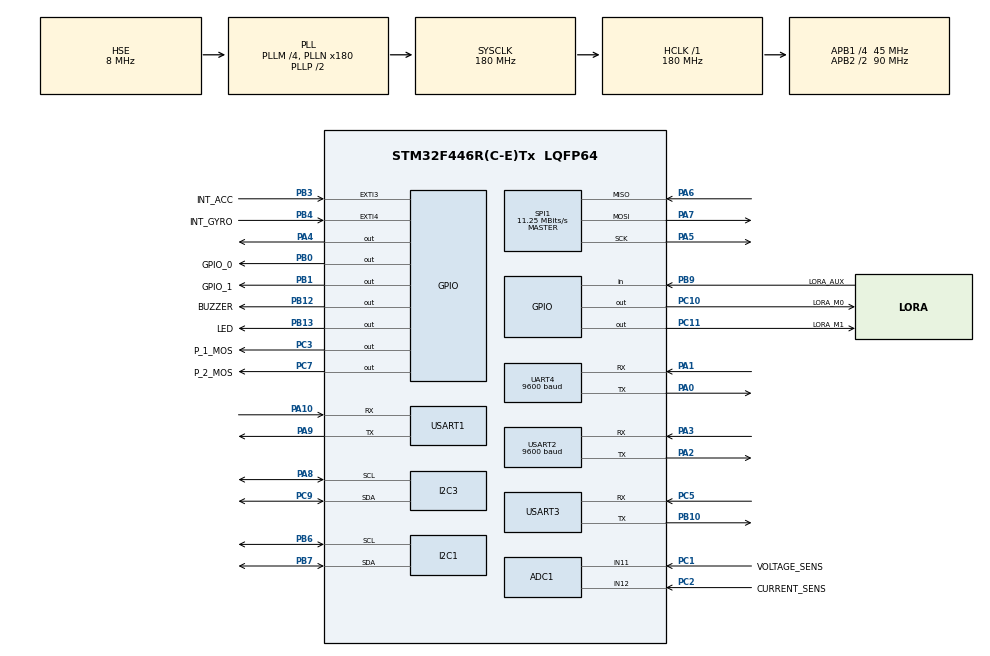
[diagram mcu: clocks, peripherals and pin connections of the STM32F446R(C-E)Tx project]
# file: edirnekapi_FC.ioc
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ADC1.Channel-0\#ChannelRegularConversion=ADC_CHANNEL_12
ADC1.Channel-1\#ChannelRegularConversion=ADC_CHANNEL_11
ADC1.ContinuousConvMode=ENABLE
ADC1.NbrOfConversion=2
ADC1.NbrOfConversionFlag=1
ADC1.Rank-0\#ChannelRegularConversion=1
ADC1.Rank-1\#ChannelRegularConversion=2
ADC1.SamplingTime-0\#ChannelRegularConversion=ADC_SAMPLETIME_84CYCLES
ADC1.SamplingTime-1\#ChannelRegularConversion=ADC_SAMPLETIME_84CYCLES
ADC1.ScanConvMode=ENABLE
ADC1.master=1
Dma.Request0=USART2_RX
Dma.Request1=USART1_TX
Dma.Request2=UART4_TX
Dma.Request3=UART4_RX
Dma.UART4_RX.3.Direction=DMA_PERIPH_TO_MEMORY
Dma.UART4_RX.3.FIFOMode=DMA_FIFOMODE_DISABLE
Dma.UART4_RX.3.Instance=DMA1_Stream2
Dma.UART4_RX.3.MemDataAlignment=DMA_MDATAALIGN_BYTE
Dma.UART4_RX.3.MemInc=DMA_MINC_ENABLE
Dma.UART4_RX.3.Mode=DMA_CIRCULAR
Dma.UART4_RX.3.PeriphDataAlignment=DMA_PDATAALIGN_BYTE
Dma.UART4_RX.3.PeriphInc=DMA_PINC_DISABLE
Dma.UART4_RX.3.Priority=DMA_PRIORITY_LOW
Dma.UART4_TX.2.Direction=DMA_MEMORY_TO_PERIPH
Dma.UART4_TX.2.FIFOMode=DMA_FIFOMODE_DISABLE
Dma.UART4_TX.2.Instance=DMA1_Stream4
Dma.UART4_TX.2.MemDataAlignment=DMA_MDATAALIGN_BYTE
Dma.UART4_TX.2.MemInc=DMA_MINC_ENABLE
Dma.UART4_TX.2.Mode=DMA_NORMAL
Dma.UART4_TX.2.PeriphDataAlignment=DMA_PDATAALIGN_BYTE
Dma.UART4_TX.2.PeriphInc=DMA_PINC_DISABLE
Dma.UART4_TX.2.Priority=DMA_PRIORITY_LOW
Dma.USART1_TX.1.Direction=DMA_MEMORY_TO_PERIPH
Dma.USART1_TX.1.FIFOMode=DMA_FIFOMODE_DISABLE
Dma.USART1_TX.1.Instance=DMA2_Stream7
Dma.USART1_TX.1.MemDataAlignment=DMA_MDATAALIGN_BYTE
Dma.USART1_TX.1.MemInc=DMA_MINC_ENABLE
Dma.USART1_TX.1.Mode=DMA_NORMAL
Dma.USART1_TX.1.PeriphDataAlignment=DMA_PDATAALIGN_BYTE
Dma.USART1_TX.1.PeriphInc=DMA_PINC_DISABLE
Dma.USART1_TX.1.Priority=DMA_PRIORITY_LOW
Dma.USART2_RX.0.Direction=DMA_PERIPH_TO_MEMORY
Dma.USART2_RX.0.FIFOMode=DMA_FIFOMODE_DISABLE
Dma.USART2_RX.0.Instance=DMA1_Stream5
Dma.USART2_RX.0.MemDataAlignment=DMA_MDATAALIGN_BYTE
Dma.USART2_RX.0.MemInc=DMA_MINC_ENABLE
Dma.USART2_RX.0.Mode=DMA_NORMAL
Dma.USART2_RX.0.PeriphDataAlignment=DMA_PDATAALIGN_BYTE
Dma.USART2_RX.0.PeriphInc=DMA_PINC_DISABLE
Dma.USART2_RX.0.Priority=DMA_PRIORITY_LOW
FATFS._MAX_SS=4096
FATFS._USE_LFN=1
Mcu.Family=STM32F4
Mcu.Name=STM32F446R(C-E)Tx
Mcu.Package=LQFP64
NVIC.DMA1_Stream2_IRQn=true\:0\:0\:false\:false\:true\:false\:true\:true
NVIC.DMA1_Stream4_IRQn=true\:0\:0\:false\:false\:true\:false\:true\:true
NVIC.DMA1_Stream5_IRQn=true\:0\:0\:false\:false\:true\:false\:true\:true
NVIC.DMA2_Stream7_IRQn=true\:0\:0\:false\:false\:true\:false\:true\:true
NVIC.EXTI3_IRQn=true\:2\:0\:true\:false\:true\:true\:true\:true
NVIC.EXTI4_IRQn=true\:2\:0\:true\:false\:true\:true\:true\:true
NVIC.PriorityGroup=NVIC_PRIORITYGROUP_4
NVIC.UART4_IRQn=true\:0\:0\:false\:false\:true\:true\:true\:true
NVIC.USART1_IRQn=true\:0\:0\:false\:false\:true\:true\:true\:true
NVIC.USART2_IRQn=true\:1\:0\:true\:false\:true\:true\:true\:true
PA0-WKUP.Mode=Asynchronous
PA0-WKUP.Signal=UART4_TX
PA1.Mode=Asynchronous
PA1.Signal=UART4_RX
PA10.Mode=Asynchronous
PA10.Signal=USART1_RX
PA13.Mode=Serial_Wire
PA13.Signal=SYS_JTMS-SWDIO
PA14.Mode=Serial_Wire
PA14.Signal=SYS_JTCK-SWCLK
PA2.Mode=Asynchronous
PA2.Signal=USART2_TX
PA3.Mode=Asynchronous
PA3.Signal=USART2_RX
PA4.GPIO_Speed=GPIO_SPEED_FREQ_HIGH
PA4.Signal=GPIO_Output
PA5.Mode=Full_Duplex_Master
PA5.Signal=SPI1_SCK
PA6.Mode=Full_Duplex_Master
PA6.Signal=SPI1_MISO
PA7.Mode=Full_Duplex_Master
PA7.Signal=SPI1_MOSI
PA8.Mode=I2C
PA8.Signal=I2C3_SCL
PA9.Mode=Asynchronous
PA9.Signal=USART1_TX
PB0.GPIO_Label=GPIO_0
PB0.Signal=GPIO_Output
PB1.GPIO_Label=GPIO_1
PB1.Signal=GPIO_Output
PB10.Mode=Asynchronous
PB10.Signal=USART3_TX
PB12.GPIO_Label=BUZZER
PB12.Signal=GPIO_Output
PB13.GPIO_Label=LED
PB13.Signal=GPIO_Output
PB3.GPIO_Label=INT_ACC
PB3.Signal=GPXTI3
PB4.GPIO_Label=INT_GYRO
PB4.Signal=GPXTI4
PB6.Mode=I2C
PB6.Signal=I2C1_SCL
PB7.Mode=I2C
PB7.Signal=I2C1_SDA
PB9.GPIO_Label=LORA_AUX
PB9.Signal=GPIO_Input
PC1.GPIO_Label=VOLTAGE_SENS
PC1.Signal=ADCx_IN11
PC10.GPIO_Label=LORA_M0
PC10.Signal=GPIO_Output
PC11.GPIO_Label=LORA_M1
PC11.Signal=GPIO_Output
PC14-OSC32_IN.Mode=LSE-External-Oscillator
PC14-OSC32_IN.Signal=RCC_OSC32_IN
PC15-OSC32_OUT.Mode=LSE-External-Oscillator
PC15-OSC32_OUT.Signal=RCC_OSC32_OUT
PC2.GPIO_Label=CURRENT_SENS
PC2.Signal=ADCx_IN12
PC3.GPIO_Label=P_1_MOS
PC3.Signal=GPIO_Output
PC5.Mode=Asynchronous
PC5.Signal=USART3_RX
PC7.GPIO_Label=P_2_MOS
PC7.Signal=GPIO_Output
PC9.Mode=I2C
PC9.Signal=I2C3_SDA
PH0-OSC_IN.Mode=HSE-External-Oscillator
PH0-OSC_IN.Signal=RCC_OSC_IN
PH1-OSC_OUT.Mode=HSE-External-Oscillator
PH1-OSC_OUT.Signal=RCC_OSC_OUT
ProjectManager.HeapSize=0x200
ProjectManager.StackSize=0x400
ProjectManager.TargetToolchain=STM32CubeIDE
RCC.AHBFreq_Value=180000000
RCC.APB1CLKDivider=RCC_HCLK_DIV4
RCC.APB1Freq_Value=45000000
RCC.APB1TimFreq_Value=90000000
RCC.APB2CLKDivider=RCC_HCLK_DIV2
RCC.APB2Freq_Value=90000000
RCC.APB2TimFreq_Value=180000000
RCC.CortexFreq_Value=180000000
RCC.HCLKFreq_Value=180000000
RCC.HSE_VALUE=8000000
RCC.PLLM=4
RCC.PLLN=180
RCC.PLLSourceVirtual=RCC_PLLSOURCE_HSE
RCC.RCC_RTC_Clock_SourceVirtual=RCC_RTCCLKSOURCE_LSE
RCC.SYSCLKFreq_VALUE=180000000
RCC.SYSCLKSource=RCC_SYSCLKSOURCE_PLLCLK
RCC.USBFreq_Value=180000000
RCC.VCOOutputFreq_Value=360000000
SH.ADCx_IN11.0=ADC1_IN11,IN11
SH.ADCx_IN12.0=ADC1_IN12,IN12
SPI1.BaudRatePrescaler=SPI_BAUDRATEPRESCALER_8
SPI1.CalculateBaudRate=11.25 MBits/s
SPI1.DataSize=SPI_DATASIZE_8BIT
SPI1.Direction=SPI_DIRECTION_2LINES
SPI1.Mode=SPI_MODE_MASTER
SPI1.VirtualType=VM_MASTER
UART4.BaudRate=9600
UART4.VirtualMode=Asynchronous
USART1.VirtualMode=VM_ASYNC
USART2.BaudRate=9600
USART2.VirtualMode=VM_ASYNC
USART3.VirtualMode=VM_ASYNC
VP_FATFS_VS_Generic.Mode=User_defined
VP_RTC_VS_RTC_Activate.Mode=RTC_Enabled
board=custom

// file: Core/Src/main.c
/* USER CODE BEGIN Header */
/**
  ******************************************************************************
  * @file           : main.c
  * @brief          : Main program body
  ******************************************************************************
  * @attention
  *
  * Copyright (c) 2024 STMicroelectronics.
  * All rights reserved.
  *
  * This software is licensed under terms that can be found in the LICENSE file
  * in the root directory of this software component.
  * If no LICENSE file comes with this software, it is provided AS-IS.
  *
  ******************************************************************************
  */
/* USER CODE END Header */
#include "main.h"
#include "fatfs.h"

/* USER CODE BEGIN Includes */
#include <string.h>
#include <stdio.h>
#include <math.h>
#include "bme280.h"
#include "bmi088.h"
#include "algorithms.h"
#include "queternion.h"
#include "lora.h"
#include "usr_gnss_l86_parser.h"
#include "dataPacking.h"
#include "externalPins.h"
#include "configuration.h"
#include "reset_detect.h"
#include "strain_gauge.h"
#include "fatfs_sd.h"
#include "usr_fat_sd.h"
/* USER CODE END Includes */

 ADC_HandleTypeDef hadc1;

I2C_HandleTypeDef hi2c1;
I2C_HandleTypeDef hi2c3;

RTC_HandleTypeDef hrtc;

SPI_HandleTypeDef hspi1;

UART_HandleTypeDef huart4;
UART_HandleTypeDef huart1;
UART_HandleTypeDef huart2;
UART_HandleTypeDef huart3;
DMA_HandleTypeDef hdma_uart4_tx;
DMA_HandleTypeDef hdma_uart4_rx;
DMA_HandleTypeDef hdma_usart1_tx;
DMA_HandleTypeDef hdma_usart2_rx;

/* USER CODE BEGIN PV */

static BME_280_t BME280_sensor;
bmi088_struct_t BMI_sensor;
static lorastruct e22_lora;
static S_GPS_L86_DATA gnss_data;
static power guc;
uint8_t mosfet_buffer[3] = {0};
volatile int is_updated_uart4 = 0;
static ext_pin_s mos_1;		//parachute 1
static ext_pin_s mos_2;		//parachute 2
ext_pin_s led;
ext_pin_s buzzer;

#ifndef ROCKET_CARD
hx711_t loadcell;
#endif

RTC_TimeTypeDef sTime;
RTC_DateTypeDef sDate;

extern float euler[3];
extern uint8_t is_offset_taken;
extern _f g_GnssRx_Flag;
extern _f g_openFixedDataTransmition;
float currentTime = 0;
float lastTime =0;
float lastTime2 =0;
float powerLastTime = 0;
float loraLastTime = 0;
float lora_hz = 1.0;
float wattLastTime = 0;
volatile float teta = 0;
float sd_last_time_f = 0.0;
float gnss_last_update_time = 0.0;

extern int errorLine;

int counter = 0;
int counterAcc = 0;
int counterGy = 0;
int configBmi = 0;
int is_BME_ok = 0;
int is_BMI_ok = 0;

uint32_t buzzLastTime = 0;
uint32_t sd_log_counter = 0;

uint8_t buf[250];

backup_sram_datas_s *saved_datas = (backup_sram_datas_s *)BKPSRAM_BASE;

/* USER CODE END PV */

void SystemClock_Config(void);
static void MX_GPIO_Init(void);
static void MX_DMA_Init(void);
static void MX_I2C3_Init(void);
static void MX_USART1_UART_Init(void);
static void MX_USART2_UART_Init(void);
static void MX_I2C1_Init(void);
static void MX_ADC1_Init(void);
static void MX_UART4_Init(void);
static void MX_RTC_Init(void);
static void MX_SPI1_Init(void);
static void MX_USART3_UART_Init(void);
/* USER CODE BEGIN PFP */
static void bme280_begin();
static void bmi088_begin();
static void loraBegin();
void measurePower(power *guc);
void getWatt(void);

/* USER CODE END PFP */

int main(void)
{

  /* MCU Configuration--------------------------------------------------------*/

  /* Reset of all peripherals, Initializes the Flash interface and the Systick. */
  HAL_Init();

  /* Configure the system clock */
  SystemClock_Config();

  /* Initialize all configured peripherals */
  MX_GPIO_Init();
  MX_DMA_Init();
  MX_I2C3_Init();
  MX_USART1_UART_Init();
  MX_USART2_UART_Init();
  MX_I2C1_Init();
  MX_ADC1_Init();
  MX_UART4_Init();
  MX_RTC_Init();
  MX_SPI1_Init();
  MX_FATFS_Init();
  MX_USART3_UART_Init();
  /* USER CODE BEGIN 2 */
  HAL_NVIC_SetPriority(EXTI3_IRQn, 2, 0);
  HAL_NVIC_SetPriority(EXTI4_IRQn, 2, 0);

  usr_fatfsInitial();
  sdInitials();

  lora_deactivate();
  HAL_PWR_EnableBkUpAccess();
  RCC->AHB1ENR |= RCC_AHB1ENR_BKPSRAMEN;
  HAL_PWR_EnableBkUpReg();

  HAL_RTC_GetTime(&hrtc, &sTime, RTC_FORMAT_BIN);
  HAL_RTC_GetDate(&hrtc, &sDate, RTC_FORMAT_BIN);

  HAL_Delay(5);
  bme280_begin();
  bmi088_begin();

  if(measure_abs_time(sTime, sDate) > 1)
  {
	  if(is_BMI_ok)
		  bmi088_config();
	  if(is_BME_ok)
		  bme280_config();

	  saved_datas->r_status = STAT_ROCKET_READY;
	  saved_datas->max_altitude = 0.0;
	  saved_datas->offset_vals[0] = 0.0;
	  saved_datas->offset_vals[1] = 0.0;
	  saved_datas->offset_vals[2] = 0.0;
	  saved_datas->q[0] = 0.0;
	  saved_datas->q[1] = 0.0;
	  saved_datas->q[2] = 0.0;
	  saved_datas->q[3] = 0.0;

	  for(int i = 0; i < 20; i++)
	  {
		  HAL_GPIO_TogglePin(BUZZER_GPIO_Port, BUZZER_Pin);
		  HAL_Delay(50);
	  }

	  loraBegin();
	  lora_activate();
	  HAL_UART_Transmit(&huart2, (uint8_t*)"$PMTK251,57600*2C\r\n", 19, 100);
	  //HAL_UART_Transmit(&huart2, "$PMTK251,9600*17\r\n", 18, 100);				// 9600 bps
	  if(is_BMI_ok){
		  getOffset();
	  }

	  getInitialQuaternion();

	  bme280_update();
		if(BME280_sensor.altitude < 200.0 && BME280_sensor.altitude > -200.0){

			saved_datas->base_altitude = BME280_sensor.altitude + saved_datas->base_altitude;
			saved_datas->max_altitude = 0.0;
		}
#ifndef	ROCKET_CARD
  straing_gage_gpio_init(&loadcell, GPIO_0_GPIO_Port, GPIO_0_Pin, GPIO_1_GPIO_Port, GPIO_1_Pin);
#endif
  sd_transmit("ok");
	  HAL_Delay(10);
  }

  HAL_UART_DeInit(&huart4);
  HAL_UART_DeInit(&huart2);
  huart4.Init.BaudRate = 115200;
  huart2.Init.BaudRate = 57600;
  HAL_UART_Init(&huart4);					//Telemetry
  HAL_UART_Init(&huart2);					//GNSS
  HAL_DMA_Init(&hdma_usart1_tx);
  HAL_DMA_Init(&hdma_usart2_rx);
  HAL_DMA_Init(&hdma_uart4_tx);
  HAL_DMA_Init(&hdma_uart4_rx);
  HAL_UART_Receive_DMA(&huart4, mosfet_buffer, 3);

  mos_1.gpio_port = P_1_MOS_GPIO_Port;
  mos_1.gpio_pin = P_1_MOS_Pin;
  mos_2.gpio_port = P_2_MOS_GPIO_Port;
  mos_2.gpio_pin = P_2_MOS_Pin;
  led.gpio_port = LED_GPIO_Port;
  led.gpio_pin = LED_Pin;
  buzzer.gpio_port = BUZZER_GPIO_Port;
  buzzer.gpio_pin = BUZZER_Pin;

  //Interrupt activation for IMU sensor.
  HAL_NVIC_EnableIRQ(EXTI3_IRQn);
  HAL_NVIC_EnableIRQ(EXTI4_IRQn);
  loraLastTime = -1.0;

  //This macro for viewing the gps raw data.
  //VIEW_GPS()

  UsrGpsL86Init(&huart2);

  ext_pin_open_duration(&buzzer, 1000);
  BMI_sensor.rawDatas.isGyroUpdated = 0;
  BMI_sensor.rawDatas.isAccelUpdated = 0;

  /* USER CODE END 2 */

  /* Infinite loop */
  while (1)
  {

    /* USER CODE BEGIN 3 */
	  if(is_BMI_ok)
		  bmi088_update();
	  if(is_BME_ok)
		  bme280_update();

	  measurePower(&guc);

	  ext_pin_update(&mos_1);
	  ext_pin_update(&mos_2);
	  ext_pin_update(&led);
	  ext_pin_update(&buzzer);

#if defined(ALGORITHM_1)
	  if(is_BME_ok)
		  algorithm_1_update(&BME280_sensor);
#endif
#if defined(ALGORITHM_2)
	  BMI_sensor.angle = quaternionToTheta();
	  if(is_BMI_ok)
		  algorithm_2_update(&BME280_sensor, &BMI_sensor);
#endif

#ifdef ROCKET_CARD
		  if(saved_datas->r_status == STAT_FLIGHT_STARTED){lora_hz = 5;}
		  else if(saved_datas->r_status > STAT_MOTOR_BURNOUT){lora_hz = 1;}
#else
		  if(saved_datas->r_status == STAT_FLIGHT_STARTED){lora_hz = 5;}
		  else if(saved_datas->r_status == STAT_TOUCH_DOWN){lora_hz = 1;}
#endif

		  currentTime = ((float)HAL_GetTick()) / 1000.0;
	  	 //Set initial quaternion every minute.
		 if(fabs(currentTime - lastTime2) > 60)
		 {
			 if(saved_datas->r_status == STAT_ROCKET_READY && sqrt(pow(BMI_sensor.gyro_x, 2) + pow(BMI_sensor.gyro_y, 2) + pow(BMI_sensor.gyro_z, 2)) < 5.0 && is_BMI_ok == 1)
			 {
				 getInitialQuaternion();
				 ext_pin_open_duration(&buzzer, 500);
			 }
			 lastTime2 = currentTime;
		 }

		 //Lora timer;
		 //loop_counter += 1;
		 currentTime = ((float)HAL_GetTick()) / 1000.0;
		 if(fabs(currentTime - loraLastTime) > (1.0 / lora_hz))
		 {
			 //BME280_sensor.velocity = (float)(loop_counter);
			 getWatt();
			 packDatas(&BMI_sensor, &BME280_sensor, &gnss_data, &guc, saved_datas->r_status);
			 loraLastTime = currentTime;
			 //loop_counter = 0;
		 }

		 if(fabs(currentTime - sd_last_time_f) > 0.1)
		 {
			 sdDataLogger(sd_log_counter, &BME280_sensor, &BMI_sensor, saved_datas, &gnss_data, &guc); // SD TRANSMIT
			 sd_log_counter++;
			 sd_last_time_f = currentTime;
		 }

		 //GNSS update function.
		 if(fabs(currentTime - gnss_last_update_time) > 1.0)
		 {
			 Usr_GpsL86GetValues(&gnss_data);
			 gnss_last_update_time = currentTime;
		 }

		 //some infos
		 if(fabs(currentTime - lastTime) > 0.2)
		 {
			 //sprintf((char*)buf, "temp = %.2fC  time %.0fuS A_x: %.1fmG  A_y: %.1fm  A_z: %.1fmG   G_z: %fdps\r\n", BMI_sensor.temp, BMI_sensor.currentTime, BMI_sensor.acc_x, BMI_sensor.acc_y, BMI_sensor.acc_z, BMI_sensor.gyro_z);
			 //sprintf((char*)buf, "G_x: %f  G_y: %f  G_z: %f   \r\n", BMI_sensor.gyro_x_angle, BMI_sensor.gyro_y_angle, BMI_sensor.gyro_z_angle);
			 //sprintf((char*)buf, "counter = %d  A_x: %.0f   A_y: %.0f   A_z: %.0f\r\n", counter, BMI_sensor.acc_x, BMI_sensor.acc_y, BMI_sensor.acc_z);
			 //sprintf((char*)buf, "g_x: %f   g_y: %f   g_z: %f\r\n", BMI_sensor.gyro_x, BMI_sensor.gyro_y, BMI_sensor.gyro_z);
			 //sprintf((char*)buf, "gyro chip id = %d\r\n", bmi088_getGyroChipId());
			 //sprintf((char*)buf, "a_x:%f \t a_y:%f \t a_z:%f\r\n", BMI_sensor.acc_x, BMI_sensor.acc_y, BMI_sensor.acc_z);
			 //sprintf((char*)buf, "Olusan Yeni Vektör: (%f, %f, %f)\n\r", rotatedVector.x, rotatedVector.y, rotatedVector.z);
			 //sprintf((char*)buf, "roll:%f   pitch:%f   yaw:%f\n\r", roll, pitch, yaw);
			 //sprintf((char*)buf, "irtifa: %.1f \t aci: %.0f \r\n", BME280_sensor.altitude, teta);
			 //sprintf((char*)buf, "irtifa: %.1fm \t sicaklik %.0fC \t nem: %0.f%% \r\n", BME280_sensor.altitude, BME280_sensor.temperature, BME280_sensor.humidity);
			 //sprintf((char*)buf, "chip id: %d\n\r", *dat);
			 //sprintf((char*)buf, "%c", *dat);
			 //sprintf((char*)buf, "sizeof float: %d   sizeof double: %d\r\n", sizeof(float), sizeof(double));
			 //sprintf((char*)buf, "q[0]: %f  q[1]: %f  q[2]: %f   q[3]: %f\r\n", q[0], q[1], q[2], q[3]);
			 //sprintf((char*)buf, "v[0]: %f  v[1]: %f  v[2]: %f   teta: %f\r\n", vector[0], vector[1], vector[2], (180.0 / M_PI) * atan2(sqrt(pow(vector[0],2.0) + pow(vector[1],2.0)), vector[2]));
			 //sprintf((char*)buf, "teta: %f\r\n", (180.0 / M_PI) * atan2(sqrt(pow(BMI_sensor.acc_x,2.0) + pow(BMI_sensor.acc_y,2.0)), BMI_sensor.acc_z));
			 //sprintf((char*)buf, "teta = %f", teta);
			 //sprintf((char*)buf, "speed = %f\n\r", BME280_sensor.velocity);
			 //HAL_UART_Transmit(&huart1, buf, strlen((char*) buf), 250);
			 HAL_RTC_GetTime(&hrtc, &sTime, RTC_FORMAT_BIN);
			 HAL_RTC_GetDate(&hrtc, &sDate, RTC_FORMAT_BIN);
			 save_time(sTime, sDate);
			 lastTime = currentTime;
		 }

#ifdef ROCKET_IGNITER_TEST
		 //This block is used for manual deploy via telemetry for testing.
		if(is_updated_uart4 == 1)
		{
			//ext_pin_open(&buzzer);
		  if(strcmp((char*)mosfet_buffer, "OK1") == 0)
		  {
			  deploy_p_1();
			  ext_pin_open(&led);
		  }
		  if(strcmp((char*)mosfet_buffer, "OK2") == 0)
		  {
			  deploy_p_2();
			  ext_pin_open(&led);
		  }
		  is_updated_uart4 = 0;
		}
#endif

  }

  /* USER CODE END 3 */
}

void SystemClock_Config(void)
{
  RCC_OscInitTypeDef RCC_OscInitStruct = {0};
  RCC_ClkInitTypeDef RCC_ClkInitStruct = {0};

  /** Configure the main internal regulator output voltage
  */
  __HAL_RCC_PWR_CLK_ENABLE();
  __HAL_PWR_VOLTAGESCALING_CONFIG(PWR_REGULATOR_VOLTAGE_SCALE1);

  /** Initializes the RCC Oscillators according to the specified parameters
  * in the RCC_OscInitTypeDef structure.
  */
  RCC_OscInitStruct.OscillatorType = RCC_OSCILLATORTYPE_HSE|RCC_OSCILLATORTYPE_LSE;
  RCC_OscInitStruct.HSEState = RCC_HSE_ON;
  RCC_OscInitStruct.LSEState = RCC_LSE_ON;
  RCC_OscInitStruct.PLL.PLLState = RCC_PLL_ON;
  RCC_OscInitStruct.PLL.PLLSource = RCC_PLLSOURCE_HSE;
  RCC_OscInitStruct.PLL.PLLM = 4;
  RCC_OscInitStruct.PLL.PLLN = 180;
  RCC_OscInitStruct.PLL.PLLP = RCC_PLLP_DIV2;
  RCC_OscInitStruct.PLL.PLLQ = 2;
  RCC_OscInitStruct.PLL.PLLR = 2;
  if (HAL_RCC_OscConfig(&RCC_OscInitStruct) != HAL_OK)
  {
    Error_Handler();
  }

  /** Activate the Over-Drive mode
  */
  if (HAL_PWREx_EnableOverDrive() != HAL_OK)
  {
    Error_Handler();
  }

  /** Initializes the CPU, AHB and APB buses clocks
  */
  RCC_ClkInitStruct.ClockType = RCC_CLOCKTYPE_HCLK|RCC_CLOCKTYPE_SYSCLK
                              |RCC_CLOCKTYPE_PCLK1|RCC_CLOCKTYPE_PCLK2;
  RCC_ClkInitStruct.SYSCLKSource = RCC_SYSCLKSOURCE_PLLCLK;
  RCC_ClkInitStruct.AHBCLKDivider = RCC_SYSCLK_DIV1;
  RCC_ClkInitStruct.APB1CLKDivider = RCC_HCLK_DIV4;
  RCC_ClkInitStruct.APB2CLKDivider = RCC_HCLK_DIV2;

  if (HAL_RCC_ClockConfig(&RCC_ClkInitStruct, FLASH_LATENCY_5) != HAL_OK)
  {
    Error_Handler();
  }
}

static void MX_ADC1_Init(void)
{

  ADC_ChannelConfTypeDef sConfig = {0};

  /** Configure the global features of the ADC (Clock, Resolution, Data Alignment and number of conversion)
  */
  hadc1.Instance = ADC1;
  hadc1.Init.ClockPrescaler = ADC_CLOCK_SYNC_PCLK_DIV4;
  hadc1.Init.Resolution = ADC_RESOLUTION_12B;
  hadc1.Init.ScanConvMode = ENABLE;
  hadc1.Init.ContinuousConvMode = ENABLE;
  hadc1.Init.DiscontinuousConvMode = DISABLE;
  hadc1.Init.ExternalTrigConvEdge = ADC_EXTERNALTRIGCONVEDGE_NONE;
  hadc1.Init.ExternalTrigConv = ADC_SOFTWARE_START;
  hadc1.Init.DataAlign = ADC_DATAALIGN_RIGHT;
  hadc1.Init.NbrOfConversion = 2;
  hadc1.Init.DMAContinuousRequests = DISABLE;
  hadc1.Init.EOCSelection = ADC_EOC_SINGLE_CONV;
  if (HAL_ADC_Init(&hadc1) != HAL_OK)
  {
    Error_Handler();
  }

  /** Configure for the selected ADC regular channel its corresponding rank in the sequencer and its sample time.
  */
  sConfig.Channel = ADC_CHANNEL_12;
  sConfig.Rank = 1;
  sConfig.SamplingTime = ADC_SAMPLETIME_84CYCLES;
  if (HAL_ADC_ConfigChannel(&hadc1, &sConfig) != HAL_OK)
  {
    Error_Handler();
  }

  /** Configure for the selected ADC regular channel its corresponding rank in the sequencer and its sample time.
  */
  sConfig.Channel = ADC_CHANNEL_11;
  sConfig.Rank = 2;
  if (HAL_ADC_ConfigChannel(&hadc1, &sConfig) != HAL_OK)
  {
    Error_Handler();
  }

}

static void MX_I2C1_Init(void)
{

  hi2c1.Instance = I2C1;
  hi2c1.Init.ClockSpeed = 100000;
  hi2c1.Init.DutyCycle = I2C_DUTYCYCLE_2;
  hi2c1.Init.OwnAddress1 = 0;
  hi2c1.Init.AddressingMode = I2C_ADDRESSINGMODE_7BIT;
  hi2c1.Init.DualAddressMode = I2C_DUALADDRESS_DISABLE;
  hi2c1.Init.OwnAddress2 = 0;
  hi2c1.Init.GeneralCallMode = I2C_GENERALCALL_DISABLE;
  hi2c1.Init.NoStretchMode = I2C_NOSTRETCH_DISABLE;
  if (HAL_I2C_Init(&hi2c1) != HAL_OK)
  {
    Error_Handler();
  }

}

static void MX_I2C3_Init(void)
{

  hi2c3.Instance = I2C3;
  hi2c3.Init.ClockSpeed = 100000;
  hi2c3.Init.DutyCycle = I2C_DUTYCYCLE_2;
  hi2c3.Init.OwnAddress1 = 0;
  hi2c3.Init.AddressingMode = I2C_ADDRESSINGMODE_7BIT;
  hi2c3.Init.DualAddressMode = I2C_DUALADDRESS_DISABLE;
  hi2c3.Init.OwnAddress2 = 0;
  hi2c3.Init.GeneralCallMode = I2C_GENERALCALL_DISABLE;
  hi2c3.Init.NoStretchMode = I2C_NOSTRETCH_DISABLE;
  if (HAL_I2C_Init(&hi2c3) != HAL_OK)
  {
    Error_Handler();
  }

}

static void MX_RTC_Init(void)
{

  /** Initialize RTC Only
  */
  hrtc.Instance = RTC;
  hrtc.Init.HourFormat = RTC_HOURFORMAT_24;
  hrtc.Init.AsynchPrediv = 127;
  hrtc.Init.SynchPrediv = 255;
  hrtc.Init.OutPut = RTC_OUTPUT_DISABLE;
  hrtc.Init.OutPutPolarity = RTC_OUTPUT_POLARITY_HIGH;
  hrtc.Init.OutPutType = RTC_OUTPUT_TYPE_OPENDRAIN;
  if (HAL_RTC_Init(&hrtc) != HAL_OK)
  {
    Error_Handler();
  }

}

static void MX_SPI1_Init(void)
{

  /* SPI1 parameter configuration*/
  hspi1.Instance = SPI1;
  hspi1.Init.Mode = SPI_MODE_MASTER;
  hspi1.Init.Direction = SPI_DIRECTION_2LINES;
  hspi1.Init.DataSize = SPI_DATASIZE_8BIT;
  hspi1.Init.CLKPolarity = SPI_POLARITY_LOW;
  hspi1.Init.CLKPhase = SPI_PHASE_1EDGE;
  hspi1.Init.NSS = SPI_NSS_SOFT;
  hspi1.Init.BaudRatePrescaler = SPI_BAUDRATEPRESCALER_8;
  hspi1.Init.FirstBit = SPI_FIRSTBIT_MSB;
  hspi1.Init.TIMode = SPI_TIMODE_DISABLE;
  hspi1.Init.CRCCalculation = SPI_CRCCALCULATION_DISABLE;
  hspi1.Init.CRCPolynomial = 10;
  if (HAL_SPI_Init(&hspi1) != HAL_OK)
  {
    Error_Handler();
  }

}

static void MX_UART4_Init(void)
{

  huart4.Instance = UART4;
  huart4.Init.BaudRate = 9600;
  huart4.Init.WordLength = UART_WORDLENGTH_8B;
  huart4.Init.StopBits = UART_STOPBITS_1;
  huart4.Init.Parity = UART_PARITY_NONE;
  huart4.Init.Mode = UART_MODE_TX_RX;
  huart4.Init.HwFlowCtl = UART_HWCONTROL_NONE;
  huart4.Init.OverSampling = UART_OVERSAMPLING_16;
  if (HAL_UART_Init(&huart4) != HAL_OK)
  {
    Error_Handler();
  }

}

static void MX_USART1_UART_Init(void)
{

  huart1.Instance = USART1;
  huart1.Init.BaudRate = 115200;
  huart1.Init.WordLength = UART_WORDLENGTH_8B;
  huart1.Init.StopBits = UART_STOPBITS_1;
  huart1.Init.Parity = UART_PARITY_NONE;
  huart1.Init.Mode = UART_MODE_TX_RX;
  huart1.Init.HwFlowCtl = UART_HWCONTROL_NONE;
  huart1.Init.OverSampling = UART_OVERSAMPLING_16;
  if (HAL_UART_Init(&huart1) != HAL_OK)
  {
    Error_Handler();
  }

}

static void MX_USART2_UART_Init(void)
{

  huart2.Instance = USART2;
  huart2.Init.BaudRate = 9600;
  huart2.Init.WordLength = UART_WORDLENGTH_8B;
  huart2.Init.StopBits = UART_STOPBITS_1;
  huart2.Init.Parity = UART_PARITY_NONE;
  huart2.Init.Mode = UART_MODE_TX_RX;
  huart2.Init.HwFlowCtl = UART_HWCONTROL_NONE;
  huart2.Init.OverSampling = UART_OVERSAMPLING_16;
  if (HAL_UART_Init(&huart2) != HAL_OK)
  {
    Error_Handler();
  }

}

static void MX_USART3_UART_Init(void)
{

  huart3.Instance = USART3;
  huart3.Init.BaudRate = 115200;
  huart3.Init.WordLength = UART_WORDLENGTH_8B;
  huart3.Init.StopBits = UART_STOPBITS_1;
  huart3.Init.Parity = UART_PARITY_NONE;
  huart3.Init.Mode = UART_MODE_TX_RX;
  huart3.Init.HwFlowCtl = UART_HWCONTROL_NONE;
  huart3.Init.OverSampling = UART_OVERSAMPLING_16;
  if (HAL_UART_Init(&huart3) != HAL_OK)
  {
    Error_Handler();
  }

}

static void MX_DMA_Init(void)
{

  /* DMA controller clock enable */
  __HAL_RCC_DMA1_CLK_ENABLE();
  __HAL_RCC_DMA2_CLK_ENABLE();

  /* DMA interrupt init */
  /* DMA1_Stream2_IRQn interrupt configuration */
  HAL_NVIC_SetPriority(DMA1_Stream2_IRQn, 0, 0);
  HAL_NVIC_EnableIRQ(DMA1_Stream2_IRQn);
  /* DMA1_Stream4_IRQn interrupt configuration */
  HAL_NVIC_SetPriority(DMA1_Stream4_IRQn, 0, 0);
  HAL_NVIC_EnableIRQ(DMA1_Stream4_IRQn);
  /* DMA1_Stream5_IRQn interrupt configuration */
  HAL_NVIC_SetPriority(DMA1_Stream5_IRQn, 0, 0);
  HAL_NVIC_EnableIRQ(DMA1_Stream5_IRQn);
  /* DMA2_Stream7_IRQn interrupt configuration */
  HAL_NVIC_SetPriority(DMA2_Stream7_IRQn, 0, 0);
  HAL_NVIC_EnableIRQ(DMA2_Stream7_IRQn);

}

static void MX_GPIO_Init(void)
{
  GPIO_InitTypeDef GPIO_InitStruct = {0};

  /* GPIO Ports Clock Enable */
  __HAL_RCC_GPIOC_CLK_ENABLE();
  __HAL_RCC_GPIOH_CLK_ENABLE();
  __HAL_RCC_GPIOA_CLK_ENABLE();
  __HAL_RCC_GPIOB_CLK_ENABLE();

  /*Configure GPIO pin Output Level */
  HAL_GPIO_WritePin(GPIOC, P_1_MOS_Pin|P_2_MOS_Pin|LORA_M0_Pin|LORA_M1_Pin, GPIO_PIN_RESET);

  /*Configure GPIO pin Output Level */
  HAL_GPIO_WritePin(GPIOA, GPIO_PIN_4, GPIO_PIN_RESET);

  /*Configure GPIO pin Output Level */
  HAL_GPIO_WritePin(GPIOB, GPIO_0_Pin|GPIO_1_Pin|BUZZER_Pin|LED_Pin, GPIO_PIN_RESET);

  /*Configure GPIO pins : P_1_MOS_Pin P_2_MOS_Pin LORA_M0_Pin LORA_M1_Pin */
  GPIO_InitStruct.Pin = P_1_MOS_Pin|P_2_MOS_Pin|LORA_M0_Pin|LORA_M1_Pin;
  GPIO_InitStruct.Mode = GPIO_MODE_OUTPUT_PP;
  GPIO_InitStruct.Pull = GPIO_NOPULL;
  GPIO_InitStruct.Speed = GPIO_SPEED_FREQ_LOW;
  HAL_GPIO_Init(GPIOC, &GPIO_InitStruct);

  /*Configure GPIO pin : PA4 */
  GPIO_InitStruct.Pin = GPIO_PIN_4;
  GPIO_InitStruct.Mode = GPIO_MODE_OUTPUT_PP;
  GPIO_InitStruct.Pull = GPIO_NOPULL;
  GPIO_InitStruct.Speed = GPIO_SPEED_FREQ_HIGH;
  HAL_GPIO_Init(GPIOA, &GPIO_InitStruct);

  /*Configure GPIO pins : GPIO_0_Pin GPIO_1_Pin BUZZER_Pin LED_Pin */
  GPIO_InitStruct.Pin = GPIO_0_Pin|GPIO_1_Pin|BUZZER_Pin|LED_Pin;
  GPIO_InitStruct.Mode = GPIO_MODE_OUTPUT_PP;
  GPIO_InitStruct.Pull = GPIO_NOPULL;
  GPIO_InitStruct.Speed = GPIO_SPEED_FREQ_LOW;
  HAL_GPIO_Init(GPIOB, &GPIO_InitStruct);

  /*Configure GPIO pins : INT_ACC_Pin INT_GYRO_Pin */
  GPIO_InitStruct.Pin = INT_ACC_Pin|INT_GYRO_Pin;
  GPIO_InitStruct.Mode = GPIO_MODE_IT_RISING;
  GPIO_InitStruct.Pull = GPIO_NOPULL;
  HAL_GPIO_Init(GPIOB, &GPIO_InitStruct);

  /*Configure GPIO pin : LORA_AUX_Pin */
  GPIO_InitStruct.Pin = LORA_AUX_Pin;
  GPIO_InitStruct.Mode = GPIO_MODE_INPUT;
  GPIO_InitStruct.Pull = GPIO_NOPULL;
  HAL_GPIO_Init(LORA_AUX_GPIO_Port, &GPIO_InitStruct);

  /* EXTI interrupt init*/
  HAL_NVIC_SetPriority(EXTI3_IRQn, 2, 0);
  HAL_NVIC_EnableIRQ(EXTI3_IRQn);

  HAL_NVIC_SetPriority(EXTI4_IRQn, 2, 0);
  HAL_NVIC_EnableIRQ(EXTI4_IRQn);

}

/* USER CODE BEGIN 4 */

void bme280_begin()
{
	BME280_sensor.device_config.bme280_filter = 			BME280_FILTER_8;
	BME280_sensor.device_config.bme280_mode =				BME280_MODE_NORMAL;
	BME280_sensor.device_config.bme280_output_speed =		BME280_OS_8;
	bme280_init(&BME280_sensor, &hi2c1);
}
void bmi088_begin()
{
	//Acccel config
	BMI_sensor.deviceConfig.acc_bandwith = ACC_BWP_OSR4;
	BMI_sensor.deviceConfig.acc_outputDateRate = ACC_ODR_200;
	BMI_sensor.deviceConfig.acc_powerMode = ACC_PWR_SAVE_ACTIVE;
	BMI_sensor.deviceConfig.acc_range = ACC_RANGE_12G;

	//Gyro config
	BMI_sensor.deviceConfig.gyro_bandWidth = GYRO_BW_230;
	BMI_sensor.deviceConfig.gyro_range = GYRO_RANGE_2000;
	BMI_sensor.deviceConfig.gyro_powerMode = GYRO_LPM_NORMAL;
	bmi088_init(&BMI_sensor, &hi2c3);
}

void loraBegin()
{
	HAL_GPIO_WritePin(LORA_M0_GPIO_Port, LORA_M0_Pin, RESET);
	HAL_GPIO_WritePin(LORA_M1_GPIO_Port, LORA_M1_Pin, SET);
	HAL_Delay(100);
/*
    while(1){
    	if(__HAL_UART_GET_FLAG(&huart4, UART_FLAG_RXNE) == SET) {
			 uint8_t dat[1];
			 HAL_UART_Receive(&huart4, (uint8_t *) dat, 1, 100);
			 HAL_UART_Transmit(&huart1, (uint8_t *) dat, 1, 100);
			 HAL_GPIO_TogglePin(Led_GPIO_Port, Led_Pin);
   	 	 }
   	 	 if(__HAL_UART_GET_FLAG(&huart1, UART_FLAG_RXNE) == SET) {
			 uint8_t dat[1];
			 HAL_UART_Receive(&huart1, (uint8_t *) dat, 1, 100);
			 HAL_UART_Transmit(&huart4, (uint8_t *) dat, 1, 100);
			 HAL_GPIO_TogglePin(Led_GPIO_Port, Led_Pin);
   	 	 }
    }
*/
	//while(!HAL_GPIO_ReadPin(GPIOB, GPIO_PIN_9));

    e22_lora.baudRate = LORA_BAUD_115200;
    e22_lora.airRate = LORA_AIR_RATE_38_4k;
    e22_lora.packetSize = LORA_SUB_PACKET_64_BYTES;
    e22_lora.power = LORA_POWER_37dbm;
    e22_lora.loraAddress.address16 = 0x0000;
    e22_lora.loraKey.key16 = 0x0000;

#ifdef ROCKET_CARD
    e22_lora.channel = ROCKET_TELEM_FREQ;
#else
    e22_lora.channel = PAYLOAD_TELEM_FREQ;
#endif

    lora_configure(&e22_lora);

    HAL_Delay(100);
}

void measurePower(power *guc_)
{
	  HAL_ADC_Start(&hadc1);
	  HAL_ADC_PollForConversion(&hadc1, 10);
	  int adc1 = HAL_ADC_GetValue(&hadc1);
	  HAL_ADC_PollForConversion(&hadc1, 10);
	  int adc2 = HAL_ADC_GetValue(&hadc1);
	  HAL_ADC_Stop (&hadc1);

	  guc_->akim =   (float)adc1 * 3300 / 4096;
	  guc_->voltaj = (float)adc2 * 13.2 / 4096;
	  guc_->mWatt += guc_->akim * guc_->voltaj * (((float)HAL_GetTick() / 1000) - powerLastTime);
	  powerLastTime = (float)HAL_GetTick() / 1000;
}

void getWatt()
{

	float currentTime = (float)HAL_GetTick() / 1000;
	float deltaTime = currentTime - wattLastTime;
	wattLastTime = currentTime;
	guc.mWatt_s = guc.mWatt / deltaTime;
	guc.mWatt = 0.0;
}

void HAL_GPIO_EXTI_Callback(uint16_t GPIO_Pin)
{
    if(GPIO_Pin == INT_GYRO_Pin)
    {
    	bmi088_getGyroDatas_INT();
    	//counterGy++;
    }
    if(GPIO_Pin == INT_ACC_Pin)
    {
    	bmi088_getAccelDatas_INT();
    	//counterAcc++;
    }
}

void deploy_p_1()
{
	ext_pin_open_duration(&mos_1, IGNITER_TIME);
	ext_pin_open(&buzzer);
}

void deploy_p_2()
{
	ext_pin_open_duration(&mos_2, IGNITER_TIME);
	ext_pin_open(&buzzer);
}

/* USER CODE END 4 */

void Error_Handler(void)
{
  /* USER CODE BEGIN Error_Handler_Debug */
  /* User can add his own implementation to report the HAL error return state */

	sprintf((char*)buf, "error line: %d\r\n", errorLine);
	HAL_UART_Transmit(&huart1, buf, strlen((char*) buf), 250);

	__disable_irq();
  while (1)
  {
		HAL_GPIO_TogglePin(BUZZER_GPIO_Port, BUZZER_Pin);
		HAL_Delay(100);
		HAL_GPIO_TogglePin(BUZZER_GPIO_Port, BUZZER_Pin);
		HAL_Delay(100);
  }

  /* USER CODE END Error_Handler_Debug */
}
